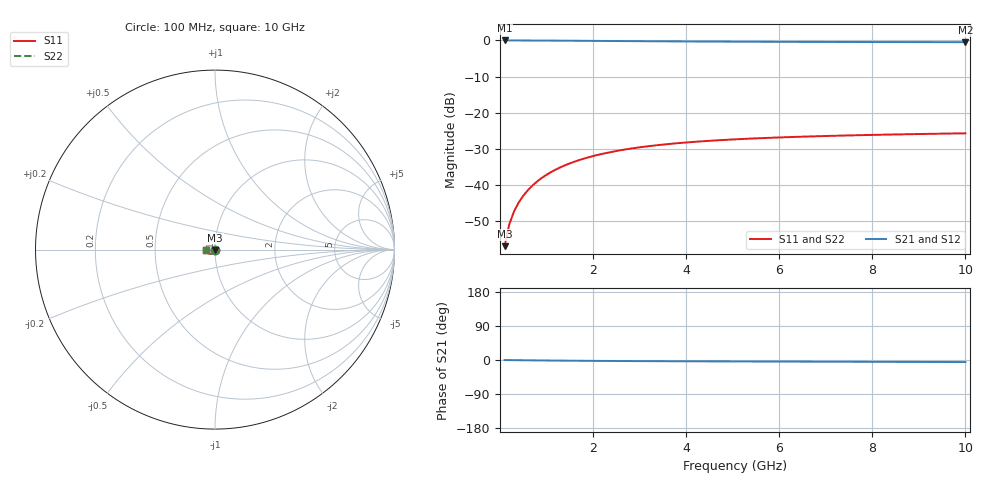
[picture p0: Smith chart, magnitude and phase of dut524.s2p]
! Touchstone file exported from HFSS 2024.1.0
!  File:  C:/UserFiles/LocalFiles/RDL_TSV_Batchsim/temp_TSV1_524_1779703870.aedt
!  Generated:  06:17:11 PM May 25, 2026
!  Design:  TSV1
!  Project:  temp_TSV1_524_1779703870
!  Setup:  Setup1
!  Solution:  Sweep
! Variables:
!  dtsv = 11.08um
!  hbump = 3um
!  htsv = 85.27um
!  lrdl = 252.1521522um
!  p = 40
!  p1 = 49.77um
!  t = 500um
!  trdl = 3um
!  wrdl = 24.89489489um
# GHz S MA R 50.000000
! Terminal data exported
! Port[1] = TSV22_T1
! Port[2] = TSV22_T2
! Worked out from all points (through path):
!   100 points, 100 MHz to 10 GHz, reference 50 ohm
!   highest |S21| = 0.00 dB at 100 MHz (marker M1); lowest = -0.5 dB at 10 GHz (marker M2)
!   lowest |S11| = -56.8 dB at 100 MHz (marker M3), VSWR 1.00, Z = 50 - j0.144 ohm
!   |S11| at or under -10 dB: start of sweep to end of sweep
!   |S22| runs from -56.8 to -25.7 dB; largest |S21 - S12| = 4.4e-15
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0.1  0.001439 -86.8  0.9998 -0.1  0.9998 -0.1  0.001439 -86.8
! Gamma 0 0 0 0
! Port Impedance 50 0 50 0
0.2  0.002871 -90.9  0.9997 -0.3  0.9997 -0.3  0.002871 -90.9
0.3  0.004303 -93.4  0.9994 -0.4  0.9994 -0.4  0.004303 -93.4
0.4  0.005729 -95.5  0.9991 -0.5  0.9991 -0.5  0.005729 -95.5
0.5  0.007145 -97.5  0.9987 -0.7  0.9987 -0.7  0.007145 -97.5
0.6  0.008546 -99.3  0.9982 -0.8  0.9982 -0.8  0.008546 -99.3
0.7  0.009929 -101.2  0.9977 -0.9  0.9977 -0.9  0.009929 -101.2
0.8  0.01129 -103.0  0.9971 -1.0  0.9971 -1.0  0.01129 -103.0
0.9  0.01263 -104.7  0.9964 -1.2  0.9964 -1.2  0.01263 -104.7
1.1  0.01522 -108.1  0.9949 -1.4  0.9949 -1.4  0.01522 -108.1
1.4  0.01887 -113.0  0.9923 -1.7  0.9923 -1.7  0.01887 -113.0
1.6  0.02115 -116.1  0.9904 -1.9  0.9904 -1.9  0.02115 -116.1
1.8  0.02328 -119.0  0.9885 -2.1  0.9885 -2.1  0.02328 -119.0
2.1  0.02623 -123.2  0.9854 -2.4  0.9854 -2.4  0.02623 -123.2
2.5  0.0297 -128.3  0.9815 -2.6  0.9815 -2.6  0.0297 -128.3
2.9  0.0327 -132.9  0.9776 -2.9  0.9776 -2.9  0.0327 -132.9
3.4  0.03586 -138.2  0.9732 -3.2  0.9732 -3.2  0.03586 -138.2
4.2  0.03984 -145.3  0.9671 -3.5  0.9671 -3.5  0.03984 -145.3
5.1  0.04318 -152.0  0.9617 -3.8  0.9617 -3.8  0.04318 -152.0
6.7  0.04727 -161.5  0.9547 -4.4  0.9547 -4.4  0.04727 -161.5
8.4  0.05016 -169.5  0.9498 -4.9  0.9498 -4.9  0.05016 -169.5
10  0.05215 -175.7  0.9466 -5.4  0.9466 -5.4  0.05216 -175.7
